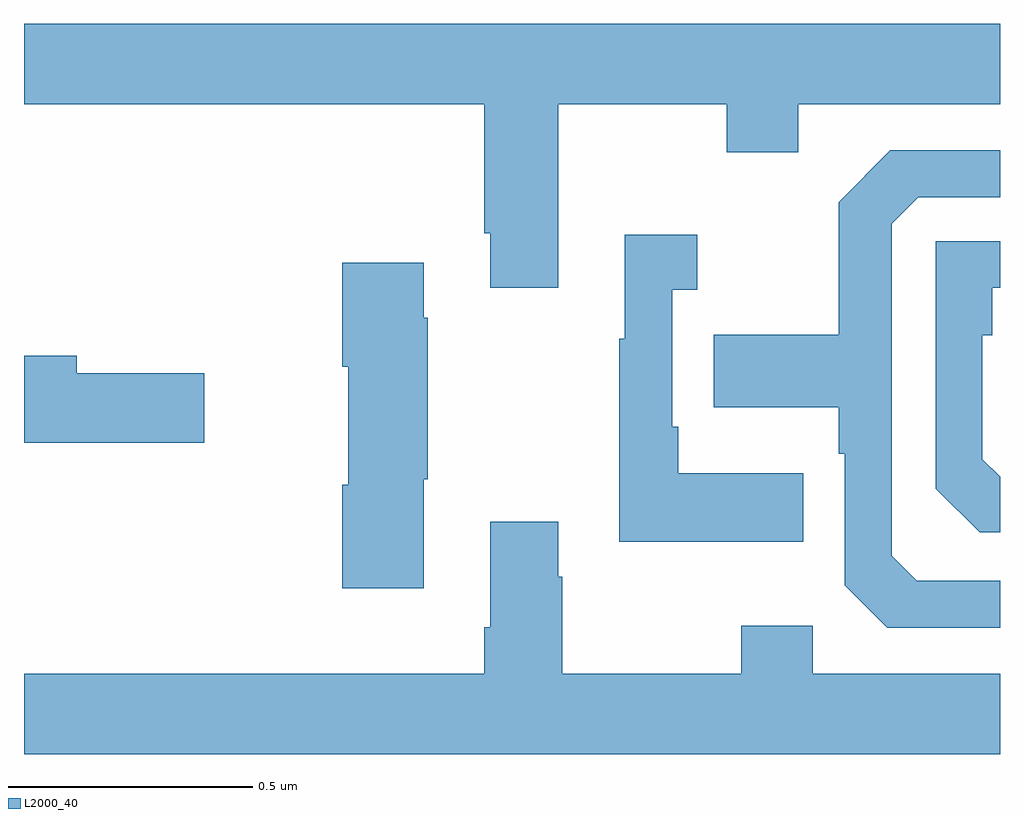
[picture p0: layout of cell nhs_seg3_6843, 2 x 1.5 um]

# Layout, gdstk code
import gdstk
lib = gdstk.Library(unit=1e-6, precision=1e-09)
def P(c, l, *ps):  # polygons
    for p in ps: c.add(gdstk.Polygon(p, *l))
L2000_40 = (2000, 40)

nhs_seg3_6843 = lib.new_cell('nhs_seg3_6843')
P(nhs_seg3_6843, L2000_40, [(197.095,700.916),(197.44,700.916),(197.44,700.817),(197.587,700.817),(197.587,700.916),(198,700.916),(198,701.08),(196,701.08),(196,700.916),(196.943,700.916),(196.943,700.651),(196.955,700.651),(196.955,700.539),(197.095,700.539)],
  [(198,699.939),(197.829,699.939),(197.778,699.99),(197.778,700.671),(197.832,700.725),(198,700.725),(198,700.821),(197.775,700.821),(197.67,700.715),(197.67,700.443),(197.413,700.443),(197.413,700.295),(197.67,700.295),(197.67,700.199),(197.682,700.199),(197.682,699.93),(197.769,699.843),(198,699.843)],
  [(197.597,700.159),(197.341,700.159),(197.341,700.255),(197.328,700.255),(197.328,700.535),(197.38,700.535),(197.38,700.648),(197.231,700.648),(197.231,700.435),(197.22,700.435),(197.22,700.019),(197.597,700.019)],
  [(198,700.152),(197.964,700.188),(197.964,700.442),(197.984,700.442),(197.984,700.539),(198,700.539),(198,700.635),(197.868,700.635),(197.868,700.128),(197.958,700.038),(198,700.038)],
  [(196.819,700.147),(196.827,700.147),(196.827,700.478),(196.819,700.478),(196.819,700.591),(196.652,700.591),(196.652,700.378),(196.664,700.378),(196.664,700.136),(196.652,700.136),(196.652,699.924),(196.819,699.924)],
  [(196.369,700.364),(196.108,700.364),(196.108,700.4),(196,700.4),(196,700.222),(196.369,700.222)],
  [(198,699.748),(197.616,699.748),(197.616,699.847),(197.47,699.847),(197.47,699.748),(197.103,699.748),(197.103,699.947),(197.095,699.947),(197.095,700.06),(196.955,700.06),(196.955,699.844),(196.943,699.844),(196.943,699.748),(196,699.748),(196,699.584),(198,699.584)])

lib.write_gds('nhs_seg3_6843.gds')
